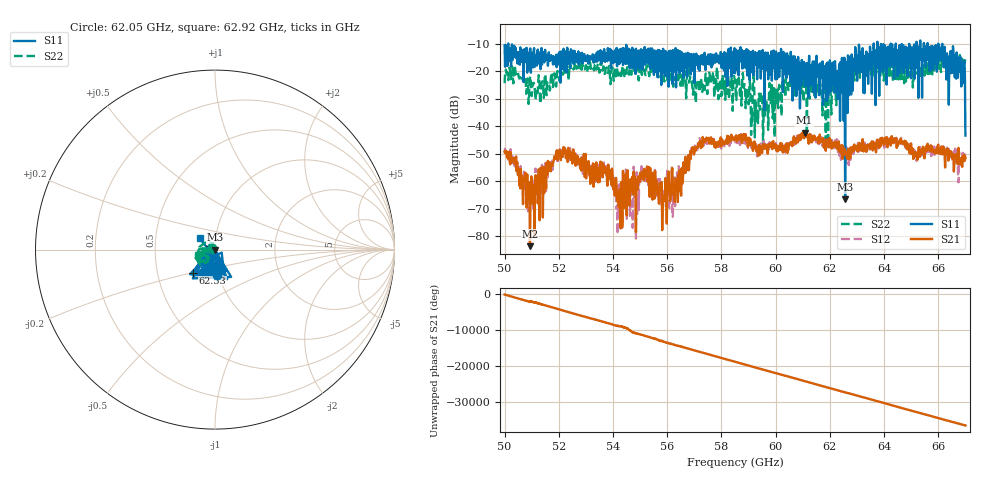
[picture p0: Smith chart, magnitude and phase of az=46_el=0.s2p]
!Created with skrf (http://scikit-rf.org).
# GHz S RI R 50.0
!freq ReS11 ImS11 ReS21 ImS21 ReS12 ImS12 ReS22 ImS22
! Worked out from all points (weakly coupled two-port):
!   1001 points, 50 GHz to 67 GHz, reference 50 ohm
!   highest |S21| = -42.37 dB at 61.07 GHz (marker M1); lowest = -83.7 dB at 50.94 GHz (marker M2)
!   lowest |S11| = -66.6 dB at 62.56 GHz (marker M3), VSWR 1.00, Z = 50 + j0.00906 ohm
!   |S11| at or under -10 dB: 50.14 GHz to 63.62 GHz (13.48 GHz wide, 23.7 % of centre); 64.43 GHz to 64.93 GHz (492.7 MHz wide, 0.762 % of centre); 66.15 GHz to end of sweep (the widest 3 of 13)
!   |S22| runs from -47.5 to -14.1 dB; largest |S21 - S12| = 0.0031
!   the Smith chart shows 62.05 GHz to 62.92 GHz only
!   S11 on the Smith chart (normalised r, x): 62.05 GHz: 0.98, -0.28; 62.53 GHz: 0.76, -0.20; 62.92 GHz: 0.84, +0.11
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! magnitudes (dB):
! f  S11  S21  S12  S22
! 50 GHz  -10.4  -49.4  -49.2  -24.3
! 50.94 GHz  -11.9  -83.7  -67.1  -22.3
! 51.97 GHz  -16.6  -49.8  -48.5  -20.3
! 52.84 GHz  -14.7  -56.2  -53.3  -19.4
! 53.91 GHz  -13.0  -59.4  -59.6  -24.7
! 54.27 GHz  -11.9  -76.1  -73.4  -21.3
! 55.08 GHz  -12.4  -57.3  -55.3  -19.9
! 55.68 GHz  -14.0  -65.0  -64.4  -22.2
! 56.24 GHz  -20.2  -61.9  -58.6  -23.4
! 57.23 GHz  -15.7  -45.6  -46.7  -23.2
! 58.5 GHz  -20.7  -44.5  -44.8  -23.8
! 59.32 GHz  -22.9  -48.0  -51.0  -34.3
! 61.07 GHz  -18.1  -42.4  -43.4  -21.1
! 61.34 GHz  -25.0  -45.8  -43.9  -24.9
! 62.05 GHz  -17.1  -45.7  -47.7  -35.7
! 62.53 GHz  -15.0  -50.5  -51.6  -18.9
! 62.56 GHz  -66.6  -50.1  -47.7  -19.3
! 62.92 GHz  -19.4  -48.2  -48.0  -20.1
! 64.18 GHz  -18.1  -46.1  -45.7  -18.3
! 66.08 GHz  -15.7  -50.1  -50.0  -15.6
! 66.9 GHz  -17.1  -50.7  -49.7  -15.0
! 67 GHz  -43.4  -51.5  -51.4  -15.6
